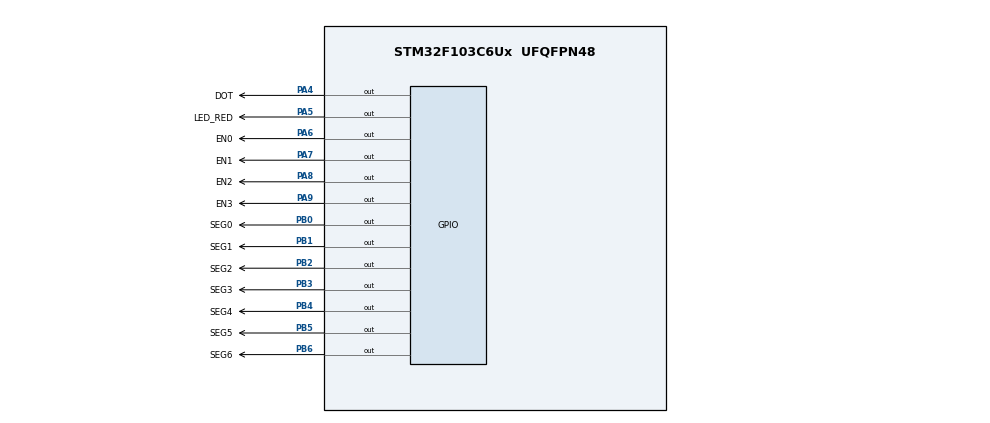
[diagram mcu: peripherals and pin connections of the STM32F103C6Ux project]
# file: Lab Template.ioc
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Mcu.Family=STM32F1
Mcu.Name=STM32F103C6Ux
Mcu.Package=UFQFPN48
NVIC.PriorityGroup=NVIC_PRIORITYGROUP_4
NVIC.TIM2_IRQn=true\:0\:0\:false\:false\:true\:true\:true
PA4.GPIO_Label=DOT
PA4.Signal=GPIO_Output
PA5.GPIO_Label=LED_RED
PA5.Signal=GPIO_Output
PA6.GPIO_Label=EN0
PA6.Signal=GPIO_Output
PA7.GPIO_Label=EN1
PA7.Signal=GPIO_Output
PA8.GPIO_Label=EN2
PA8.Signal=GPIO_Output
PA9.GPIO_Label=EN3
PA9.Signal=GPIO_Output
PB0.GPIO_Label=SEG0
PB0.Signal=GPIO_Output
PB1.GPIO_Label=SEG1
PB1.Signal=GPIO_Output
PB2.GPIO_Label=SEG2
PB2.Signal=GPIO_Output
PB3.GPIO_Label=SEG3
PB3.Signal=GPIO_Output
PB4.GPIO_Label=SEG4
PB4.Signal=GPIO_Output
PB5.GPIO_Label=SEG5
PB5.Signal=GPIO_Output
PB6.GPIO_Label=SEG6
PB6.Signal=GPIO_Output
ProjectManager.HeapSize=0x200
ProjectManager.StackSize=0x400
ProjectManager.TargetToolchain=STM32CubeIDE
RCC.APB1Freq_Value=8000000
RCC.APB2Freq_Value=8000000
TIM2.Period=9
TIM2.Prescaler=7999
VP_SYS_VS_ND.Mode=No_Debug
VP_TIM2_VS_ClockSourceINT.Mode=Internal
board=custom

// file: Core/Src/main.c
/* USER CODE BEGIN Header */
/**
  ******************************************************************************
  * @file           : main.c
  * @brief          : Main program body
  ******************************************************************************
  * @attention
  *
  * <h2><center>&copy; Copyright (c) 2022 STMicroelectronics.
  * All rights reserved.</center></h2>
  *
  * This software component is licensed by ST under BSD 3-Clause license,
  * the "License"; You may not use this file except in compliance with the
  * License. You may obtain a copy of the License at:
  *                        opensource.org/licenses/BSD-3-Clause
  *
  ******************************************************************************
  */
/* USER CODE END Header */
#include "main.h"

/* USER CODE BEGIN Includes */
#include "software_timer.h"
/* USER CODE END Includes */

TIM_HandleTypeDef htim2;

void SystemClock_Config(void);
static void MX_TIM2_Init(void);
static void MX_GPIO_Init(void);
/* USER CODE BEGIN PFP */
void display7SEG(int);
void update7SEG (int);
/* USER CODE END PFP */

/* USER CODE BEGIN 0 */
const int MAX_LED = 4;
int index_led = 0;
int led_buffer[4] = {1 , 2 , 3 , 4};
/* USER CODE END 0 */

int main(void)
{

  /* MCU Configuration--------------------------------------------------------*/

  /* Reset of all peripherals, Initializes the Flash interface and the Systick. */
  HAL_Init();

  /* Configure the system clock */
  SystemClock_Config();

  /* Initialize all configured peripherals */
  MX_TIM2_Init();
  MX_GPIO_Init();
  /* USER CODE BEGIN 2 */
  HAL_TIM_Base_Start_IT (& htim2 );
  /* USER CODE END 2 */

  /* Infinite loop */
  /* USER CODE BEGIN WHILE */
  setTimer7SEG(25);		// 0.25s
  setTimerDOT(100);		// 1s
  while (1)
  {
	  // blink DOT
	  if (timer_flag_DOT == 1){
		  setTimerDOT(100);
		  HAL_GPIO_TogglePin(GPIOA, DOT_Pin);
	  }
	  // switch LED
	  if (timer_flag_7SEG == 1){
		  setTimer7SEG(25);
		  if (index_led == 4) index_led = 0;	// reset index_led
		  update7SEG(index_led++);
	  }
    /* USER CODE END WHILE */

  }
}

void SystemClock_Config(void)
{
  RCC_OscInitTypeDef RCC_OscInitStruct = {0};
  RCC_ClkInitTypeDef RCC_ClkInitStruct = {0};

  /** Initializes the RCC Oscillators according to the specified parameters
  * in the RCC_OscInitTypeDef structure.
  */
  RCC_OscInitStruct.OscillatorType = RCC_OSCILLATORTYPE_HSI;
  RCC_OscInitStruct.HSIState = RCC_HSI_ON;
  RCC_OscInitStruct.HSICalibrationValue = RCC_HSICALIBRATION_DEFAULT;
  RCC_OscInitStruct.PLL.PLLState = RCC_PLL_NONE;
  if (HAL_RCC_OscConfig(&RCC_OscInitStruct) != HAL_OK)
  {
    Error_Handler();
  }
  /** Initializes the CPU, AHB and APB buses clocks
  */
  RCC_ClkInitStruct.ClockType = RCC_CLOCKTYPE_HCLK|RCC_CLOCKTYPE_SYSCLK
                              |RCC_CLOCKTYPE_PCLK1|RCC_CLOCKTYPE_PCLK2;
  RCC_ClkInitStruct.SYSCLKSource = RCC_SYSCLKSOURCE_HSI;
  RCC_ClkInitStruct.AHBCLKDivider = RCC_SYSCLK_DIV1;
  RCC_ClkInitStruct.APB1CLKDivider = RCC_HCLK_DIV1;
  RCC_ClkInitStruct.APB2CLKDivider = RCC_HCLK_DIV1;

  if (HAL_RCC_ClockConfig(&RCC_ClkInitStruct, FLASH_LATENCY_0) != HAL_OK)
  {
    Error_Handler();
  }
}

static void MX_TIM2_Init(void)
{

  TIM_ClockConfigTypeDef sClockSourceConfig = {0};
  TIM_MasterConfigTypeDef sMasterConfig = {0};

  htim2.Instance = TIM2;
  htim2.Init.Prescaler = 7999;
  htim2.Init.CounterMode = TIM_COUNTERMODE_UP;
  htim2.Init.Period = 9;
  htim2.Init.ClockDivision = TIM_CLOCKDIVISION_DIV1;
  htim2.Init.AutoReloadPreload = TIM_AUTORELOAD_PRELOAD_DISABLE;
  if (HAL_TIM_Base_Init(&htim2) != HAL_OK)
  {
    Error_Handler();
  }
  sClockSourceConfig.ClockSource = TIM_CLOCKSOURCE_INTERNAL;
  if (HAL_TIM_ConfigClockSource(&htim2, &sClockSourceConfig) != HAL_OK)
  {
    Error_Handler();
  }
  sMasterConfig.MasterOutputTrigger = TIM_TRGO_RESET;
  sMasterConfig.MasterSlaveMode = TIM_MASTERSLAVEMODE_DISABLE;
  if (HAL_TIMEx_MasterConfigSynchronization(&htim2, &sMasterConfig) != HAL_OK)
  {
    Error_Handler();
  }

}

static void MX_GPIO_Init(void)
{
  GPIO_InitTypeDef GPIO_InitStruct = {0};

  /* GPIO Ports Clock Enable */
  __HAL_RCC_GPIOA_CLK_ENABLE();
  __HAL_RCC_GPIOB_CLK_ENABLE();

  /*Configure GPIO pin Output Level */
  HAL_GPIO_WritePin(GPIOA, DOT_Pin|LED_RED_Pin|EN0_Pin, GPIO_PIN_RESET);
  HAL_GPIO_WritePin(GPIOA, EN1_Pin|EN2_Pin|EN3_Pin, GPIO_PIN_SET);

  /*Configure GPIO pin Output Level */
  HAL_GPIO_WritePin(GPIOB, SEG0_Pin|SEG1_Pin|SEG2_Pin|SEG3_Pin
                          |SEG4_Pin|SEG5_Pin|SEG6_Pin, GPIO_PIN_RESET);

  /*Configure GPIO pins : DOT_Pin LED_RED_Pin EN0_Pin EN1_Pin
                           EN2_Pin EN3_Pin */
  GPIO_InitStruct.Pin = DOT_Pin|LED_RED_Pin|EN0_Pin|EN1_Pin
                          |EN2_Pin|EN3_Pin;
  GPIO_InitStruct.Mode = GPIO_MODE_OUTPUT_PP;
  GPIO_InitStruct.Pull = GPIO_NOPULL;
  GPIO_InitStruct.Speed = GPIO_SPEED_FREQ_LOW;
  HAL_GPIO_Init(GPIOA, &GPIO_InitStruct);

  /*Configure GPIO pins : SEG0_Pin SEG1_Pin SEG2_Pin SEG3_Pin
                           SEG4_Pin SEG5_Pin SEG6_Pin */
  GPIO_InitStruct.Pin = SEG0_Pin|SEG1_Pin|SEG2_Pin|SEG3_Pin
                          |SEG4_Pin|SEG5_Pin|SEG6_Pin;
  GPIO_InitStruct.Mode = GPIO_MODE_OUTPUT_PP;
  GPIO_InitStruct.Pull = GPIO_NOPULL;
  GPIO_InitStruct.Speed = GPIO_SPEED_FREQ_LOW;
  HAL_GPIO_Init(GPIOB, &GPIO_InitStruct);
}

/* USER CODE BEGIN 4 */
void update7SEG ( int index ) {
	switch ( index ) {
		case 0:
			// Display the first 7 SEG with led_buffer [0]
			HAL_GPIO_WritePin(GPIOA, EN1_Pin|EN2_Pin|EN3_Pin, GPIO_PIN_SET);
			display7SEG(led_buffer[0]);
			HAL_GPIO_WritePin(GPIOA, EN0_Pin, GPIO_PIN_RESET);
			break ;
		case 1:
			// Display the second 7 SEG with led_buffer [1]
			HAL_GPIO_WritePin(GPIOA, EN0_Pin|EN2_Pin|EN3_Pin, GPIO_PIN_SET);
			display7SEG(led_buffer[1]);
			HAL_GPIO_WritePin(GPIOA, EN1_Pin, GPIO_PIN_RESET);
			break ;
		case 2:
			// Display the third 7 SEG with led_buffer [2]
			HAL_GPIO_WritePin(GPIOA, EN1_Pin|EN0_Pin|EN3_Pin, GPIO_PIN_SET);
			display7SEG(led_buffer[2]);
			HAL_GPIO_WritePin(GPIOA, EN2_Pin, GPIO_PIN_RESET);
			break ;
		case 3:
			// Display the forth 7 SEG with led_buffer [3]
			HAL_GPIO_WritePin(GPIOA, EN1_Pin|EN2_Pin|EN0_Pin, GPIO_PIN_SET);
			display7SEG(led_buffer[3]);
			HAL_GPIO_WritePin(GPIOA, EN3_Pin, GPIO_PIN_RESET);
			break ;
		default :
			break ;
	}
}

int counter = 100;
int start = 0;
void HAL_TIM_PeriodElapsedCallback ( TIM_HandleTypeDef * htim )
{
	timerRun();
	// start updating LEDs
	if (start == 0){
		update7SEG(index_led++);
		start = 1;
	}
	// test led PA5
	counter--;
	if( counter <= 0) {
		counter = 100;
		HAL_GPIO_TogglePin ( LED_RED_GPIO_Port , LED_RED_Pin ) ;
	}
}

void display7SEG(int counter){
	if (counter == 0){
		HAL_GPIO_WritePin(SEG0_GPIO_Port, SEG0_Pin, GPIO_PIN_RESET);
		HAL_GPIO_WritePin(SEG1_GPIO_Port, SEG1_Pin, GPIO_PIN_RESET);
		HAL_GPIO_WritePin(SEG2_GPIO_Port, SEG2_Pin, GPIO_PIN_RESET);
		HAL_GPIO_WritePin(SEG3_GPIO_Port, SEG3_Pin, GPIO_PIN_RESET);
		HAL_GPIO_WritePin(SEG4_GPIO_Port, SEG4_Pin, GPIO_PIN_RESET);
		HAL_GPIO_WritePin(SEG5_GPIO_Port, SEG5_Pin, GPIO_PIN_RESET);
		HAL_GPIO_WritePin(SEG6_GPIO_Port, SEG6_Pin, GPIO_PIN_SET);
	}
	else if (counter == 1){
		HAL_GPIO_WritePin(SEG0_GPIO_Port, SEG0_Pin, GPIO_PIN_SET);
		HAL_GPIO_WritePin(SEG1_GPIO_Port, SEG1_Pin, GPIO_PIN_RESET);
		HAL_GPIO_WritePin(SEG2_GPIO_Port, SEG2_Pin, GPIO_PIN_RESET);
		HAL_GPIO_WritePin(SEG3_GPIO_Port, SEG3_Pin, GPIO_PIN_SET);
		HAL_GPIO_WritePin(SEG4_GPIO_Port, SEG4_Pin, GPIO_PIN_SET);
		HAL_GPIO_WritePin(SEG5_GPIO_Port, SEG5_Pin, GPIO_PIN_SET);
		HAL_GPIO_WritePin(SEG6_GPIO_Port, SEG6_Pin, GPIO_PIN_SET);
	}
	else if (counter == 2){
		HAL_GPIO_WritePin(SEG0_GPIO_Port, SEG0_Pin, GPIO_PIN_RESET);
		HAL_GPIO_WritePin(SEG1_GPIO_Port, SEG1_Pin, GPIO_PIN_RESET);
		HAL_GPIO_WritePin(SEG2_GPIO_Port, SEG2_Pin, GPIO_PIN_SET);
		HAL_GPIO_WritePin(SEG3_GPIO_Port, SEG3_Pin, GPIO_PIN_RESET);
		HAL_GPIO_WritePin(SEG4_GPIO_Port, SEG4_Pin, GPIO_PIN_RESET);
		HAL_GPIO_WritePin(SEG5_GPIO_Port, SEG5_Pin, GPIO_PIN_SET);
		HAL_GPIO_WritePin(SEG6_GPIO_Port, SEG6_Pin, GPIO_PIN_RESET);
	}
	else if (counter == 3){
		HAL_GPIO_WritePin(SEG0_GPIO_Port, SEG0_Pin, GPIO_PIN_RESET);
		HAL_GPIO_WritePin(SEG1_GPIO_Port, SEG1_Pin, GPIO_PIN_RESET);
		HAL_GPIO_WritePin(SEG2_GPIO_Port, SEG2_Pin, GPIO_PIN_RESET);
		HAL_GPIO_WritePin(SEG3_GPIO_Port, SEG3_Pin, GPIO_PIN_RESET);
		HAL_GPIO_WritePin(SEG4_GPIO_Port, SEG4_Pin, GPIO_PIN_SET);
		HAL_GPIO_WritePin(SEG5_GPIO_Port, SEG5_Pin, GPIO_PIN_SET);
		HAL_GPIO_WritePin(SEG6_GPIO_Port, SEG6_Pin, GPIO_PIN_RESET);
	}
	else if (counter == 4){
		HAL_GPIO_WritePin(SEG0_GPIO_Port, SEG0_Pin, GPIO_PIN_SET);
		HAL_GPIO_WritePin(SEG1_GPIO_Port, SEG1_Pin, GPIO_PIN_RESET);
		HAL_GPIO_WritePin(SEG2_GPIO_Port, SEG2_Pin, GPIO_PIN_RESET);
		HAL_GPIO_WritePin(SEG3_GPIO_Port, SEG3_Pin, GPIO_PIN_SET);
		HAL_GPIO_WritePin(SEG4_GPIO_Port, SEG4_Pin, GPIO_PIN_SET);
		HAL_GPIO_WritePin(SEG5_GPIO_Port, SEG5_Pin, GPIO_PIN_RESET);
		HAL_GPIO_WritePin(SEG6_GPIO_Port, SEG6_Pin, GPIO_PIN_RESET);
	}
	else if (counter == 5){
		HAL_GPIO_WritePin(SEG0_GPIO_Port, SEG0_Pin, GPIO_PIN_RESET);
		HAL_GPIO_WritePin(SEG1_GPIO_Port, SEG1_Pin, GPIO_PIN_SET);
		HAL_GPIO_WritePin(SEG2_GPIO_Port, SEG2_Pin, GPIO_PIN_RESET);
		HAL_GPIO_WritePin(SEG3_GPIO_Port, SEG3_Pin, GPIO_PIN_RESET);
		HAL_GPIO_WritePin(SEG4_GPIO_Port, SEG4_Pin, GPIO_PIN_SET);
		HAL_GPIO_WritePin(SEG5_GPIO_Port, SEG5_Pin, GPIO_PIN_RESET);
		HAL_GPIO_WritePin(SEG6_GPIO_Port, SEG6_Pin, GPIO_PIN_RESET);
	}
	else if (counter == 6){
		HAL_GPIO_WritePin(SEG0_GPIO_Port, SEG0_Pin, GPIO_PIN_RESET);
		HAL_GPIO_WritePin(SEG1_GPIO_Port, SEG1_Pin, GPIO_PIN_SET);
		HAL_GPIO_WritePin(SEG2_GPIO_Port, SEG2_Pin, GPIO_PIN_RESET);
		HAL_GPIO_WritePin(SEG3_GPIO_Port, SEG3_Pin, GPIO_PIN_RESET);
		HAL_GPIO_WritePin(SEG4_GPIO_Port, SEG4_Pin, GPIO_PIN_RESET);
		HAL_GPIO_WritePin(SEG5_GPIO_Port, SEG5_Pin, GPIO_PIN_RESET);
		HAL_GPIO_WritePin(SEG6_GPIO_Port, SEG6_Pin, GPIO_PIN_RESET);
	}
	else if (counter == 7){
		HAL_GPIO_WritePin(SEG0_GPIO_Port, SEG0_Pin, GPIO_PIN_RESET);
		HAL_GPIO_WritePin(SEG1_GPIO_Port, SEG1_Pin, GPIO_PIN_RESET);
		HAL_GPIO_WritePin(SEG2_GPIO_Port, SEG2_Pin, GPIO_PIN_RESET);
		HAL_GPIO_WritePin(SEG3_GPIO_Port, SEG3_Pin, GPIO_PIN_SET);
		HAL_GPIO_WritePin(SEG4_GPIO_Port, SEG4_Pin, GPIO_PIN_SET);
		HAL_GPIO_WritePin(SEG5_GPIO_Port, SEG5_Pin, GPIO_PIN_SET);
		HAL_GPIO_WritePin(SEG6_GPIO_Port, SEG6_Pin, GPIO_PIN_SET);
	}
	else if (counter == 8){
		HAL_GPIO_WritePin(SEG0_GPIO_Port, SEG0_Pin, GPIO_PIN_RESET);
		HAL_GPIO_WritePin(SEG1_GPIO_Port, SEG1_Pin, GPIO_PIN_RESET);
		HAL_GPIO_WritePin(SEG2_GPIO_Port, SEG2_Pin, GPIO_PIN_RESET);
		HAL_GPIO_WritePin(SEG3_GPIO_Port, SEG3_Pin, GPIO_PIN_RESET);
		HAL_GPIO_WritePin(SEG4_GPIO_Port, SEG4_Pin, GPIO_PIN_RESET);
		HAL_GPIO_WritePin(SEG5_GPIO_Port, SEG5_Pin, GPIO_PIN_RESET);
		HAL_GPIO_WritePin(SEG6_GPIO_Port, SEG6_Pin, GPIO_PIN_RESET);
	}
	else if (counter == 9){
		HAL_GPIO_WritePin(SEG0_GPIO_Port, SEG0_Pin, GPIO_PIN_RESET);
		HAL_GPIO_WritePin(SEG1_GPIO_Port, SEG1_Pin, GPIO_PIN_RESET);
		HAL_GPIO_WritePin(SEG2_GPIO_Port, SEG2_Pin, GPIO_PIN_RESET);
		HAL_GPIO_WritePin(SEG3_GPIO_Port, SEG3_Pin, GPIO_PIN_RESET);
		HAL_GPIO_WritePin(SEG4_GPIO_Port, SEG4_Pin, GPIO_PIN_SET);
		HAL_GPIO_WritePin(SEG5_GPIO_Port, SEG5_Pin, GPIO_PIN_RESET);
		HAL_GPIO_WritePin(SEG6_GPIO_Port, SEG6_Pin, GPIO_PIN_RESET);
	}
}

/* USER CODE END 4 */

void Error_Handler(void)
{
  __disable_irq();
  while (1)
  {
  }
}

/************************ (C) COPYRIGHT STMicroelectronics *****END OF FILE****/
